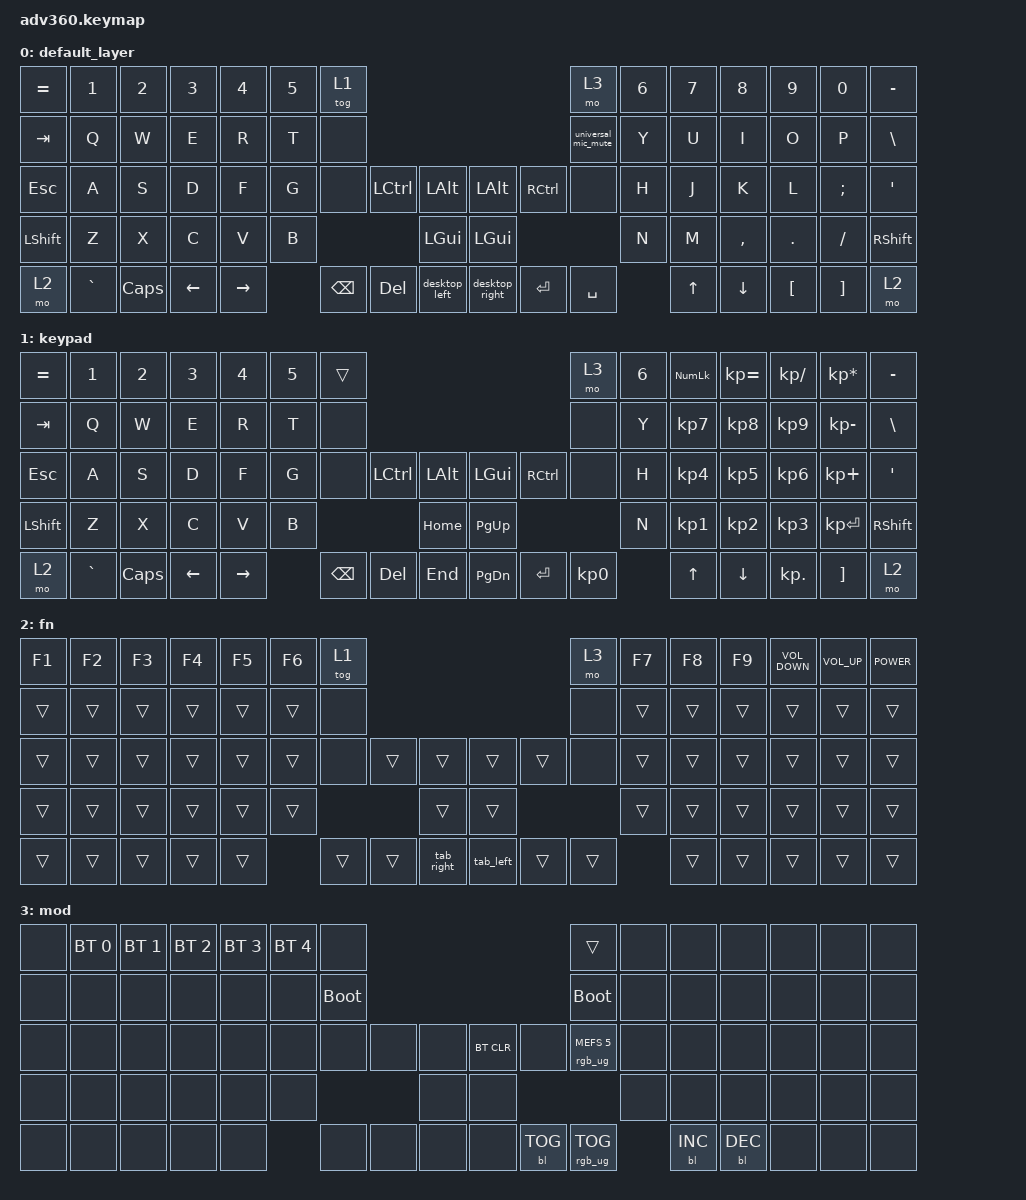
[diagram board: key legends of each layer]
/*
 * Copyright (c) 2020 The ZMK Contributors
 *
 * SPDX-License-Identifier: MIT
 */
/* THIS FILE WAS GENERATED!
 *
 * This file was generated automatically. You may or may not want to
 * edit it directly.
 */

#include <behaviors.dtsi>
#include <dt-bindings/zmk/backlight.h>
#include <dt-bindings/zmk/bt.h>
#include <dt-bindings/zmk/keys.h>
#include <dt-bindings/zmk/rgb.h>

/ {
    behaviors {
        #include "macros.dtsi"

        hm: homerow_mods {
            compatible = "zmk,behavior-hold-tap";
            label = "HOMEROW_MODS";
            #binding-cells = <2>;
            tapping-term-ms = <200>;
            quick_tap_ms = <175>;
            flavor = "tap-preferred";
            bindings =
                <&kp>,
                <&kp>;
        };
    };

    macros {
        desktop_left: desktop_left {
            compatible = "zmk,behavior-macro";
            label = "DESKTOP_LEFT";
            #binding-cells = <0>;
            bindings = <&kp LC(LEFT)>;
        };
        desktop_right: desktop_right {
            compatible = "zmk,behavior-macro";
            label = "DESKTOP_RIGHT";
            #binding-cells = <0>;
            bindings = <&kp LC(RIGHT)>;
        };
        universal_mic_mute: universal_mic_mute {
            compatible = "zmk,behavior-macro";
            label = "UNIVERSAL_MIC_MUTE";
            #binding-cells = <0>;
            bindings = <&kp LC(LG(LA(NUMBER_1)))>;
        };
        tab_left: tab_left {
            compatible = "zmk,behavior-macro";
            label = "TAB_LEFT";
            #binding-cells = <0>;
            bindings = <&kp LC(TAB)>;
        };
        tab_right: tab_right {
            compatible = "zmk,behavior-macro";
            label = "TAB_RIGHT";
            #binding-cells = <0>;
            bindings = <&kp LC(LS(TAB))>;
        };
        spotlight: spotlight {
            compatible = "zmk,behavior-macro";
            label = "SPOTLIGHT";
            #binding-cells = <0>;
            bindings = <&kp LG(SPACE)>;
        };
    };

    combos {
        compatible = "zmk,combos";

        spotlight {
            bindings = <&spotlight>;
            key-positions = <67 68>;
        };
    };

    keymap {
        compatible = "zmk,keymap";

        default_layer {
            bindings = <
&kp EQUAL  &kp N1     &kp N2    &kp N3    &kp N4     &kp N5  &tog 1                                                             &mo 3                &kp N6  &kp N7  &kp N8     &kp N9    &kp N0    &kp MINUS
&kp TAB    &kp Q      &kp W     &kp E     &kp R      &kp T   &none                                                              &universal_mic_mute  &kp Y   &kp U   &kp I      &kp O     &kp P     &kp BSLH
&kp ESC    &kp A      &kp S     &kp D     &kp F      &kp G   &none     &kp LCTRL  &kp LALT           &kp LALT        &kp RCTRL  &none                &kp H   &kp J   &kp K      &kp L     &kp SEMI  &kp SQT
&kp LSHFT  &kp Z      &kp X     &kp C     &kp V      &kp B                        &kp LGUI           &kp LGUI                                        &kp N   &kp M   &kp COMMA  &kp DOT   &kp FSLH  &kp RSHFT
&mo 2      &kp GRAVE  &kp CAPS  &kp LEFT  &kp RIGHT          &kp BSPC  &kp DEL    &desktop_left      &desktop_right  &kp ENTER  &kp SPACE                    &kp UP  &kp DOWN   &kp LBKT  &kp RBKT  &mo 2
            >;
        };

        keypad {
            bindings = <
&kp EQUAL  &kp N1     &kp N2    &kp N3    &kp N4     &kp N5  &trans                                                   &mo 3      &kp N6  &kp KP_NUM  &kp KP_EQUAL  &kp KP_DIVIDE  &kp KP_MULTIPLY  &kp MINUS
&kp TAB    &kp Q      &kp W     &kp E     &kp R      &kp T   &none                                                    &none      &kp Y   &kp KP_N7   &kp KP_N8     &kp KP_N9      &kp KP_MINUS     &kp BSLH
&kp ESC    &kp A      &kp S     &kp D     &kp F      &kp G   &none     &kp LCTRL  &kp LALT      &kp LGUI   &kp RCTRL  &none      &kp H   &kp KP_N4   &kp KP_N5     &kp KP_N6      &kp KP_PLUS      &kp SQT
&kp LSHFT  &kp Z      &kp X     &kp C     &kp V      &kp B                        &kp HOME      &kp PG_UP                        &kp N   &kp KP_N1   &kp KP_N2     &kp KP_N3      &kp KP_ENTER     &kp RSHFT
&mo 2      &kp GRAVE  &kp CAPS  &kp LEFT  &kp RIGHT          &kp BSPC  &kp DEL    &kp END       &kp PG_DN  &kp ENTER  &kp KP_N0          &kp UP      &kp DOWN      &kp KP_DOT     &kp RBKT         &mo 2
            >;
        };

        fn {
            bindings = <
&kp F1  &kp F2  &kp F3  &kp F4  &kp F5  &kp F6  &tog 1                                             &mo 3   &kp F7  &kp F8  &kp F9  &kp C_VOLUME_DOWN  &kp C_VOL_UP  &kp C_POWER
&trans  &trans  &trans  &trans  &trans  &trans  &none                                              &none   &trans  &trans  &trans  &trans             &trans        &trans
&trans  &trans  &trans  &trans  &trans  &trans  &none   &trans  &trans          &trans     &trans  &none   &trans  &trans  &trans  &trans             &trans        &trans
&trans  &trans  &trans  &trans  &trans  &trans                  &trans          &trans                     &trans  &trans  &trans  &trans             &trans        &trans
&trans  &trans  &trans  &trans  &trans          &trans  &trans  &tab_right      &tab_left  &trans  &trans          &trans  &trans  &trans             &trans        &trans
            >;
        };

        mod {
            bindings = <
&none  &bt BT_SEL 0  &bt BT_SEL 1  &bt BT_SEL 2  &bt BT_SEL 3  &bt BT_SEL 4  &none                                                  &trans                  &none  &none       &none       &none  &none  &none
&none  &none         &none         &none         &none         &none         &bootloader                                            &bootloader             &none  &none       &none       &none  &none  &none
&none  &none         &none         &none         &none         &none         &none        &none  &none      &bt BT_CLR  &none       &rgb_ug RGB_MEFS_CMD 5  &none  &none       &none       &none  &none  &none
&none  &none         &none         &none         &none         &none                             &none      &none                                           &none  &none       &none       &none  &none  &none
&none  &none         &none         &none         &none                       &none        &none  &none      &none       &bl BL_TOG  &rgb_ug RGB_TOG                &bl BL_INC  &bl BL_DEC  &none  &none  &none
            >;
        };
    };
};
